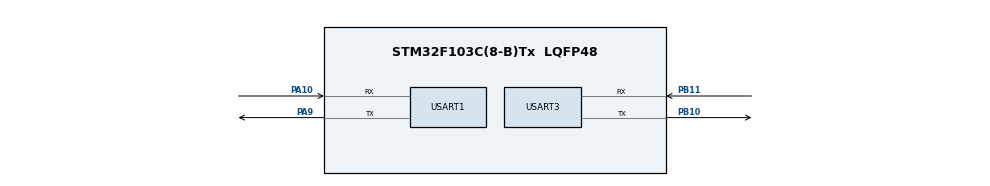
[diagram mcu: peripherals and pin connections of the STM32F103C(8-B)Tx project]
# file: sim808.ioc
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Mcu.Family=STM32F1
Mcu.Name=STM32F103C(8-B)Tx
Mcu.Package=LQFP48
NVIC.PriorityGroup=NVIC_PRIORITYGROUP_4
NVIC.USART1_IRQn=true\:0\:0\:false\:true\:true\:1\:true\:true\:true
NVIC.USART3_IRQn=true\:0\:0\:false\:true\:true\:2\:true\:true\:true
PA10.Mode=Asynchronous
PA10.Signal=USART1_RX
PA9.Mode=Asynchronous
PA9.Signal=USART1_TX
PB10.Mode=Asynchronous
PB10.Signal=USART3_TX
PB11.Mode=Asynchronous
PB11.Signal=USART3_RX
ProjectManager.HeapSize=0x200
ProjectManager.StackSize=0x400
ProjectManager.TargetToolchain=STM32CubeIDE
RCC.APB1Freq_Value=8000000
RCC.APB2Freq_Value=8000000
USART1.VirtualMode=VM_ASYNC
USART3.VirtualMode=VM_ASYNC
board=custom

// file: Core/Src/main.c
/* USER CODE BEGIN Header */
/**
  ******************************************************************************
  * @file           : main.c
  * @brief          : Main program body
  ******************************************************************************
  * @attention
  *
  * Copyright (c) 2023 STMicroelectronics.
  * All rights reserved.
  *
  * This software is licensed under terms that can be found in the LICENSE file
  * in the root directory of this software component.
  * If no LICENSE file comes with this software, it is provided AS-IS.
  *
  ******************************************************************************
  */
/* USER CODE END Header */
#include "main.h"

/* USER CODE BEGIN Includes */
#include <string.h>
#include <stdbool.h>
/* USER CODE END Includes */

/* USER CODE BEGIN PTD */
typedef struct UART_HANDLER{
	int index = 0;
	char txBuffer[100];
	char rxBuffer[1024];
	char rxTmp[1];
}UART_HANDLER;
/* USER CODE END PTD */

/* USER CODE BEGIN PD */
#define CR '\r'
#define LF '\n'
/* USER CODE END PD */

UART_HandleTypeDef huart1;
UART_HandleTypeDef huart3;

/* USER CODE BEGIN PV */
UART_HANDLER uart1;
UART_HANDLER uart3;
/* USER CODE END PV */

void SystemClock_Config(void);
static void MX_GPIO_Init(void);
static void MX_USART1_UART_Init(void);
static void MX_USART3_UART_Init(void);
static void MX_NVIC_Init(void);

/* USER CODE BEGIN 0 */
char *cmd;

void HAL_UART_RxCpltCallback(UART_HandleTypeDef *huart){
	static uint8_t rxIndex3 = 0, rxIndex1 = 0;
	static bool startFlag = false;

	if (huart->Instance == huart1.Instance ){
		if(!startFlag){
			uart1.index = 0;
			memset(uart1.rxBuffer,'\0', 1023);
			startFlag = true;
		}

		if(uart1.index>1022){
			startFlag = false;
		}
		else if((uart1.rxTmp[0] == CR || uart1.rxTmp[0] == LF) && uart1.index == 0){
			//BURASI SIM808 MODÜLÜNÜN FORMAT FARKLILI�?I NEDENİYLE BİLİNÇLİ OLARAK BO�? BIRAKILMI�?TIR
		}
		else{
			if(uart1.rxTmp[0] == LF){
				uart1.rxBuffer[uart1.index-1] = '\0';
				uart1.rxBuffer[uart1.index] = '\0';
				rxIndex1=0;
				startFlag = false;
			}
			else{
				uart1.rxBuffer[uart1.index]=uart1.rxTmp[0];
				uart1.index++;
			}
		}

		HAL_UART_Receive_IT(&huart1, rxTmp1, 1);
	}
	else if (huart->Instance == huart3.Instance ){
		if(uart3.rxTmp[0] == '#'){
			startFlag = true;
			uart3.index = 0;
		}

		if(startFlag){
			if(uart3.index<1022){
				rxBuffer3[uart3.index] = uart3.rxTmp[0];
				if(uart3.rxTmp[0] == '!'){
					uart3.rxBuffer[uart3.index] = '\0';
					startFlag = false;
					sendTcpServer(uart3.rxBuffer);
				}
			}
			else{
				startFlag = false;
				uart3.rxBuffer[uart3.index] = '!';
				uart3.rxBuffer[uart3.index] = '\0';
			}
		}

		HAL_UART_Receive_IT(&huart3, uart3.rxTmp[0], 1);
	}
}

/* USER CODE END 0 */

int main(void)
{

  /* MCU Configuration--------------------------------------------------------*/

  /* Reset of all peripherals, Initializes the Flash interface and the Systick. */
  HAL_Init();

  /* Configure the system clock */
  SystemClock_Config();

  /* Initialize all configured peripherals */
  MX_GPIO_Init();
  MX_USART1_UART_Init();
  MX_USART3_UART_Init();

  /* Initialize interrupts */
  MX_NVIC_Init();
  /* USER CODE BEGIN 2 */
  HAL_UART_Receive_IT(&huart1, uart1.rxTmp[0], 1);
  HAL_UART_Receive_IT(&huart3, uart3.rxTmp[0], 1);
  connect_TCP("ip", "port", uart1.rxBuffer);
  /* USER CODE END 2 */

  /* Infinite loop */
  while (1)
  {

  }
}

void SystemClock_Config(void)
{
  RCC_OscInitTypeDef RCC_OscInitStruct = {0};
  RCC_ClkInitTypeDef RCC_ClkInitStruct = {0};

  /** Initializes the RCC Oscillators according to the specified parameters
  * in the RCC_OscInitTypeDef structure.
  */
  RCC_OscInitStruct.OscillatorType = RCC_OSCILLATORTYPE_HSI;
  RCC_OscInitStruct.HSIState = RCC_HSI_ON;
  RCC_OscInitStruct.HSICalibrationValue = RCC_HSICALIBRATION_DEFAULT;
  RCC_OscInitStruct.PLL.PLLState = RCC_PLL_NONE;
  if (HAL_RCC_OscConfig(&RCC_OscInitStruct) != HAL_OK)
  {
    Error_Handler();
  }

  /** Initializes the CPU, AHB and APB buses clocks
  */
  RCC_ClkInitStruct.ClockType = RCC_CLOCKTYPE_HCLK|RCC_CLOCKTYPE_SYSCLK
                              |RCC_CLOCKTYPE_PCLK1|RCC_CLOCKTYPE_PCLK2;
  RCC_ClkInitStruct.SYSCLKSource = RCC_SYSCLKSOURCE_HSI;
  RCC_ClkInitStruct.AHBCLKDivider = RCC_SYSCLK_DIV1;
  RCC_ClkInitStruct.APB1CLKDivider = RCC_HCLK_DIV1;
  RCC_ClkInitStruct.APB2CLKDivider = RCC_HCLK_DIV1;

  if (HAL_RCC_ClockConfig(&RCC_ClkInitStruct, FLASH_LATENCY_0) != HAL_OK)
  {
    Error_Handler();
  }
}

/**
  * @brief NVIC Configuration.
  * @retval None
  */
static void MX_NVIC_Init(void)
{
  /* USART1_IRQn interrupt configuration */
  HAL_NVIC_SetPriority(USART1_IRQn, 0, 0);
  HAL_NVIC_EnableIRQ(USART1_IRQn);
  /* USART3_IRQn interrupt configuration */
  HAL_NVIC_SetPriority(USART3_IRQn, 0, 0);
  HAL_NVIC_EnableIRQ(USART3_IRQn);
}

static void MX_USART1_UART_Init(void)
{

  huart1.Instance = USART1;
  huart1.Init.BaudRate = 115200;
  huart1.Init.WordLength = UART_WORDLENGTH_8B;
  huart1.Init.StopBits = UART_STOPBITS_1;
  huart1.Init.Parity = UART_PARITY_NONE;
  huart1.Init.Mode = UART_MODE_TX_RX;
  huart1.Init.HwFlowCtl = UART_HWCONTROL_NONE;
  huart1.Init.OverSampling = UART_OVERSAMPLING_16;
  if (HAL_UART_Init(&huart1) != HAL_OK)
  {
    Error_Handler();
  }

}

static void MX_USART3_UART_Init(void)
{

  huart3.Instance = USART3;
  huart3.Init.BaudRate = 115200;
  huart3.Init.WordLength = UART_WORDLENGTH_8B;
  huart3.Init.StopBits = UART_STOPBITS_1;
  huart3.Init.Parity = UART_PARITY_NONE;
  huart3.Init.Mode = UART_MODE_TX_RX;
  huart3.Init.HwFlowCtl = UART_HWCONTROL_NONE;
  huart3.Init.OverSampling = UART_OVERSAMPLING_16;
  if (HAL_UART_Init(&huart3) != HAL_OK)
  {
    Error_Handler();
  }

}

static void MX_GPIO_Init(void)
{

  /* GPIO Ports Clock Enable */
  __HAL_RCC_GPIOB_CLK_ENABLE();
  __HAL_RCC_GPIOA_CLK_ENABLE();

}

void Error_Handler(void)
{
  __disable_irq();
  while (1)
  {
  }
}
